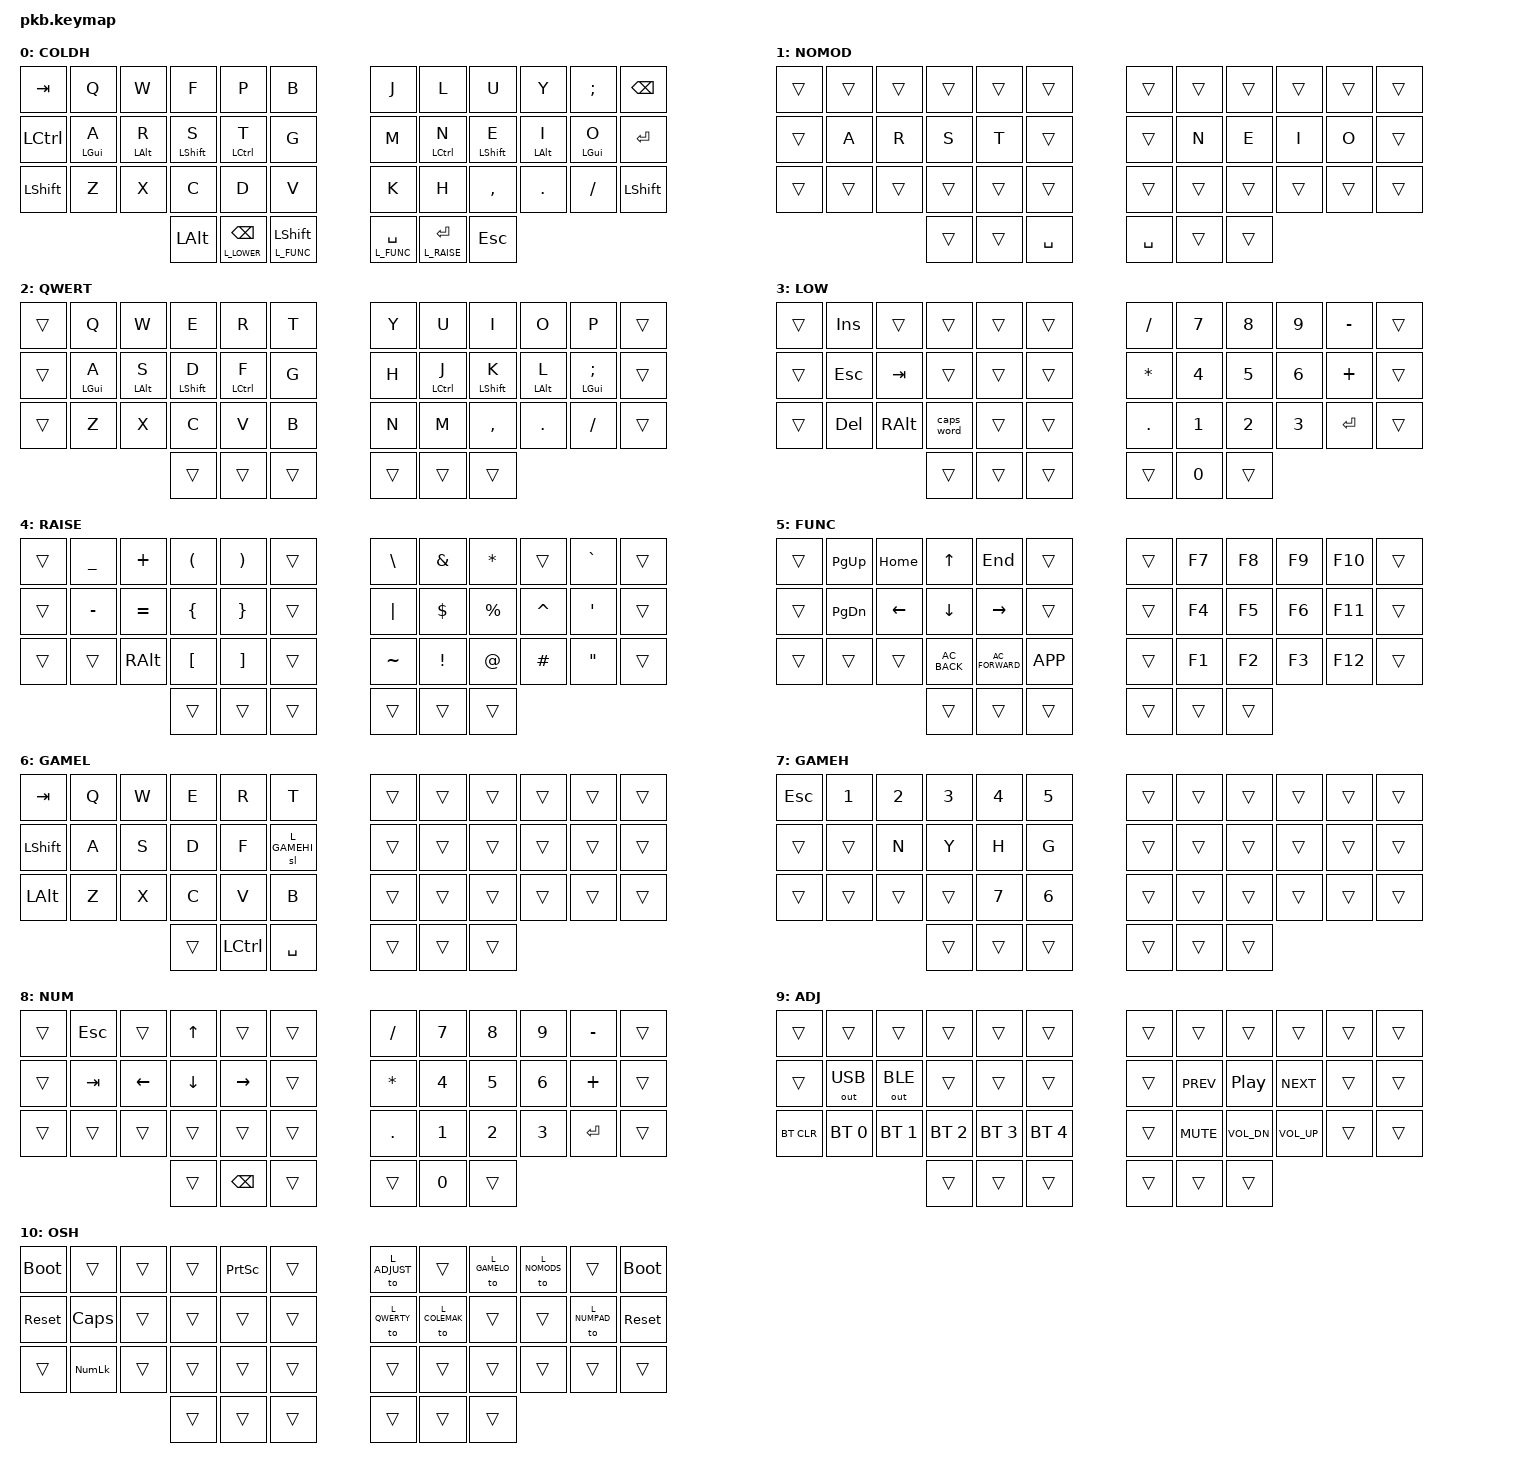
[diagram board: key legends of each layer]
/*
 * Copyright (c) 2020 The ZMK Contributors
 *
 * SPDX-License-Identifier: MIT
 */

#include <behaviors.dtsi>
#include <dt-bindings/zmk/keys.h>
#include <dt-bindings/zmk/bt.h>
#include <dt-bindings/zmk/outputs.h>

#define L_COLEMAK 0
#define L_NOMODS 1
#define L_QWERTY 2
#define L_LOWER 3
#define L_RAISE 4
#define L_FUNC 5
#define L_GAMELO 6
#define L_GAMEHI 7
#define L_NUMPAD 8
#define L_ADJUST 9
#define L_ONESHOT 10

/ {
        combos {
                compatible = "zmk,combos";
                combo_oneshot1 {
                    timeout-ms = <50>;
                    key-positions = <37 40>;
                    bindings = <&sl L_ONESHOT>;
                };
                combo_oneshot2 {
                    timeout-ms = <50>;
                    key-positions = <36 37 38>;
                    bindings = <&sl L_ONESHOT>;
                };
                combo_oneshot3 {
                    timeout-ms = <50>;
                    key-positions = <39 40 41>;
                    bindings = <&sl L_ONESHOT>;
                };
        };

        behaviors {
                hm: homerow_mods {
                        compatible = "zmk,behavior-hold-tap";
                        label = "HOMEROW_MODS";
                        #binding-cells = <2>;
                        tapping-term-ms = <150>;
                        quick-tap-ms = <0>;
                        flavor = "tap-preferred";
                        bindings = <&kp>, <&kp>;
                };
                ls: layer_plus_sticky {
                        compatible = "zmk,behavior-hold-tap";
                        label = "LAYER_PLUS_STICKY";
                        #binding-cells = <2>;
                        tapping-term-ms = <150>;
                        quick-tap-ms = <0>;
                        flavor = "tap-preferred";
                        bindings = <&mo>, <&sk>;
                };
        };

        keymap {
                compatible = "zmk,keymap";

                default_layer {
                        display-name = "COLDH";
// -----------------------------------------------------------------------------------------
// | TAB  |  Q  |  W  |  F  |  P  |  B  |   |  J  |  L   |  U  |  Y  |  ;  | BSPC |
// | ESC  |  A  |  R  |  S  |  T  |  G  |   |  M  |  N   |  E  |  I  |  O  |  '   |
// | CTRL |  Z  |  X  |  C  |  D  |  V  |   |  K  |  H   |  ,  |  .  |  /  | ESC  |
//                    | GUI | LWR | SPC |   | ENT | RSE  | ALT |
                        bindings = <
   &kp TAB   &kp Q      &kp W      &kp F       &kp P       &kp B   &kp J &kp L        &kp U       &kp Y      &kp SEMI   &kp BSPC
   &kp LCTRL &hm LGUI A &hm LALT R &hm LSHFT S &hm LCTRL T &kp G   &kp M &hm LCTRL N  &hm LSHFT E &hm LALT I &hm LGUI O &kp RET
   &kp LSHFT &kp Z      &kp X      &kp C       &kp D       &kp V   &kp K &kp H        &kp COMMA   &kp DOT    &kp FSLH   &kp LSHFT
                  &kp LALT &lt L_LOWER BSPC &ls L_FUNC LSHIFT      &lt L_FUNC SPACE &lt L_RAISE RET &kp ESC
                        >;
                };

                nomods_layer {
// -----------------------------------------------------------------------------------------
// |  TAB |  1  |  2  |  3  |  4  |  5  |   |  6  |  7  |  8  |  9  |  0  | BSPC |
// | BTCLR| BT1 | BT2 | BT3 | BT4 | BT5 |   | LFT | DWN |  UP | RGT |     |      |
// | SHFT |     |     |     |     |     |   |     |     |     |     |     |      |
//                    | GUI |     | SPC |   | ENT |     | ALT |
                        display-name = "NOMOD";
                        bindings = <
   &trans &trans &trans &trans &trans &trans &trans &trans &trans &trans &trans &trans
   &trans &kp A  &kp R  &kp S  &kp T  &trans &trans &kp N  &kp E  &kp I  &kp O  &trans
   &trans &trans &trans &trans &trans &trans &trans &trans &trans &trans &trans &trans
                    &trans &trans &kp SPACE    &kp SPACE &trans &trans
                        >;
                };

                qwerty_layer {
                        display-name = "QWERT";
                        bindings = <
   &trans    &kp Q      &kp W      &kp E       &kp R       &kp T   &kp Y &kp U        &kp I       &kp O      &kp P         &trans
   &trans    &hm LGUI A &hm LALT S &hm LSHFT D &hm LCTRL F &kp G   &kp H &hm LCTRL J  &hm LSHFT K &hm LALT L &hm LGUI SEMI &trans
   &trans    &kp Z      &kp X      &kp C       &kp V       &kp B   &kp N &kp M        &kp COMMA   &kp DOT    &kp FSLH      &trans
                            &trans   &trans   &trans        &trans   &trans   &trans
                        >;
                };

                lower_layer {
// -----------------------------------------------------------------------------------------
// |     | INS |     |     |     |     |   |  /  |  7  |  8  |  9  |  -  |     |
// |     | ESC | TAB |     |     |     |   |  *  |  4  |  5  |  6  |  +  |     |
// |     | DEL | RALT| CW  |     |     |   |  .  |  1  |  2  |  3  | RET |     |
//                    |     |     |     |   |     |     |     |
                        display-name = "LOW";
                        bindings = <
   &trans   &kp INS  &trans   &trans   &trans   &trans        &kp FSLH &kp N7   &kp N8   &kp N9   &kp MINUS &trans
   &trans   &kp ESC  &kp TAB  &trans   &trans   &trans        &kp STAR &kp N4   &kp N5   &kp N6   &kp PLUS  &trans
   &trans   &kp DEL  &kp RALT &caps_word &trans &trans        &kp DOT  &kp N1   &kp N2   &kp N3   &kp RET   &trans
                              &trans   &trans   &trans        &trans   &kp N0   &trans
                        >;
                };

                raise_layer {
// -----------------------------------------------------------------------------------------
// |     |  _  |  +  |  (  |  )  |     |   |  \  |  &  |  *  |     |  `  |     |
// |     |  -  |  =  |  {  |  }  |     |   |  |  |  $  |  %  |  ^  |  '  |     |
// |     |     | RALT|  [  |  ]  |     |   |  ~  |  !  |  @  |  #  |  "  |     |
//                    |     |     |     |   |     |     |     |
                        display-name = "RAISE";
                        bindings = <
   &trans  &kp UNDER &kp PLUS  &kp LPAR &kp RPAR &trans        &kp BSLH  &kp AMPS &kp STAR  &trans    &kp GRAVE &trans
   &trans  &kp MINUS &kp EQUAL &kp LBRC &kp RBRC &trans        &kp PIPE  &kp DLLR &kp PRCNT &kp CARET &kp SQT   &trans
   &trans  &trans    &kp RALT  &kp LBKT &kp RBKT &trans        &kp TILDE &kp EXCL &kp AT    &kp HASH  &kp DQT   &trans
                              &trans   &trans   &trans        &trans   &trans   &trans
                        >;
                };

                func_layer {
// -----------------------------------------------------------------------------------------
// |      | PGUP | HOME |  UP  | END  |      |   |      |  F7  |  F8  |  F9  |  F10 |      |
// |      | PGDN | LEFT | DOWN | RGHT |      |   |      |  F4  |  F5  |  F6  |  F11 |      |
// |      |      |      |      |      |      |   |      |  F1  |  F2  |  F3  |  F12 |      |
//                      |      |      |      |   |      |      |      |
                        display-name = "FUNC";
                        bindings = <
   &trans  &kp PG_UP &kp HOME &kp UP   &kp END   &trans      &trans   &kp F7   &kp F8   &kp F9   &kp F10  &trans
   &trans  &kp PG_DN &kp LEFT &kp DOWN &kp RIGHT &trans      &trans   &kp F4   &kp F5   &kp F6   &kp F11  &trans
   &trans  &trans    &trans &kp C_AC_BACK &kp C_AC_FORWARD &kp K_APP   &trans   &kp F1   &kp F2   &kp F3   &kp F12  &trans
                              &trans   &trans    &trans      &trans   &trans   &trans
                        >;
                };

                gamelo_layer {
                        display-name = "GAMEL";
                        bindings = <
   &kp TAB   &kp Q   &kp W   &kp E   &kp R   &kp T         &trans  &trans  &trans  &trans  &trans  &trans
   &kp LSHFT &kp A   &kp S   &kp D   &kp F   &sl L_GAMEHI  &trans  &trans  &trans  &trans  &trans  &trans
   &kp LALT  &kp Z   &kp X   &kp C   &kp V   &kp B         &trans  &trans  &trans  &trans  &trans  &trans
                    &trans   &kp LCTRL   &kp SPACE         &trans  &trans  &trans
                        >;
                };

                gamehi_layer {
                        display-name = "GAMEH";
                        bindings = <
   &kp ESC   &kp N1  &kp N2  &kp N3  &kp N4  &kp N5          &trans  &trans  &trans  &trans  &trans  &trans
   &trans    &trans  &kp N   &kp Y   &kp H   &kp G           &trans  &trans  &trans  &trans  &trans  &trans
   &trans    &trans  &trans  &trans  &kp N7  &kp N6          &trans  &trans  &trans  &trans  &trans  &trans
                           &trans  &trans  &trans          &trans  &trans  &trans
                        >;
                };

                numpad_layer {
                        display-name = "NUM";
                        bindings = <
   &trans    &kp ESC   &trans    &kp UP    &trans     &trans          &kp FSLH  &kp N7    &kp N8    &kp N9    &kp MINUS &trans
   &trans    &kp TAB   &kp LEFT  &kp DOWN  &kp RIGHT  &trans          &kp STAR  &kp N4    &kp N5    &kp N6    &kp PLUS  &trans
   &trans    &trans    &trans    &trans    &trans     &trans          &kp DOT   &kp N1    &kp N2    &kp N3    &kp RET   &trans
                                 &trans    &kp BSPC   &trans          &trans    &kp N0    &trans
                        >;
                };

                adjust_layer {
                        display-name = "ADJ";
                        bindings = <
   &trans     &trans       &trans       &trans       &trans        &trans          &trans   &trans     &trans       &trans       &trans   &trans
   &trans     &out OUT_USB &out OUT_BLE &trans       &trans        &trans          &trans   &kp C_PREV &kp C_PP     &kp C_NEXT   &trans   &trans
   &bt BT_CLR &bt BT_SEL 0 &bt BT_SEL 1 &bt BT_SEL 2 &bt BT_SEL 3  &bt BT_SEL 4    &trans   &kp C_MUTE &kp C_VOL_DN &kp C_VOL_UP &trans   &trans
                              &trans   &trans    &trans      &trans   &trans   &trans
                        >;
                };

                oneshot_layer {
                        display-name = "OSH";
                        bindings = <
   &bootloader &trans   &trans   &trans   &kp PSCRN &trans      &to L_ADJUST &trans        &to L_GAMELO &to L_NOMODS &trans       &bootloader
   &sys_reset  &kp CAPS &trans   &trans   &trans    &trans      &to L_QWERTY &to L_COLEMAK &trans       &trans       &to L_NUMPAD &sys_reset
   &trans      &kp KP_NUM &trans  &trans  &trans    &trans      &trans       &trans        &trans       &trans       &trans       &trans
                             &trans   &trans   &trans      &trans   &trans    &trans
                        >;
                };
        };
};
